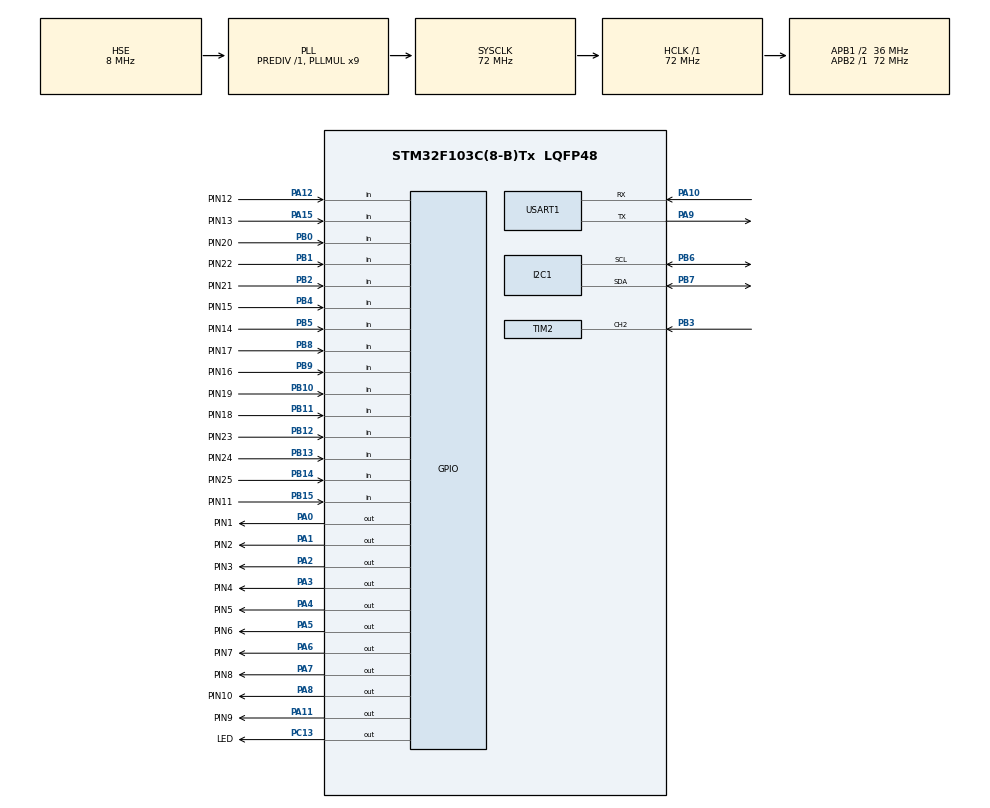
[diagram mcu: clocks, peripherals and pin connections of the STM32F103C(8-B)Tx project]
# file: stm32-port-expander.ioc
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ADC1.Channel-4\#ChannelRegularConversion=ADC_CHANNEL_TEMPSENSOR
ADC1.Channel-6\#ChannelRegularConversion=ADC_CHANNEL_VREFINT
ADC1.ContinuousConvMode=ENABLE
ADC1.NbrOfConversion=2
ADC1.NbrOfConversionFlag=1
ADC1.Rank-4\#ChannelRegularConversion=1
ADC1.Rank-6\#ChannelRegularConversion=2
ADC1.SamplingTime-4\#ChannelRegularConversion=ADC_SAMPLETIME_71CYCLES_5
ADC1.SamplingTime-6\#ChannelRegularConversion=ADC_SAMPLETIME_71CYCLES_5
ADC1.master=1
Dma.ADC1.0.Direction=DMA_PERIPH_TO_MEMORY
Dma.ADC1.0.Instance=DMA1_Channel1
Dma.ADC1.0.MemDataAlignment=DMA_MDATAALIGN_WORD
Dma.ADC1.0.MemInc=DMA_MINC_ENABLE
Dma.ADC1.0.Mode=DMA_CIRCULAR
Dma.ADC1.0.PeriphDataAlignment=DMA_PDATAALIGN_WORD
Dma.ADC1.0.PeriphInc=DMA_PINC_DISABLE
Dma.ADC1.0.Priority=DMA_PRIORITY_MEDIUM
Dma.Request0=ADC1
I2C1.GeneralCallMode=I2C_GENERALCALL_DISABLE
I2C1.I2C_Mode=I2C_Fast
I2C1.NoStretchMode=I2C_NOSTRETCH_DISABLE
I2C1.OwnAddress=8
Mcu.Family=STM32F1
Mcu.Name=STM32F103C(8-B)Tx
Mcu.Package=LQFP48
NVIC.ADC1_2_IRQn=true\:0\:0\:false\:false\:true\:true\:true\:true
NVIC.DMA1_Channel1_IRQn=true\:0\:0\:false\:false\:true\:false\:true\:true
NVIC.I2C1_ER_IRQn=true\:0\:0\:false\:false\:true\:true\:true\:true
NVIC.I2C1_EV_IRQn=true\:0\:0\:false\:false\:true\:true\:true\:true
NVIC.PriorityGroup=NVIC_PRIORITYGROUP_4
NVIC.TIM2_IRQn=true\:0\:0\:false\:false\:true\:true\:true\:true
PA0-WKUP.GPIO_Label=PIN1
PA0-WKUP.GPIO_PuPd=GPIO_PULLDOWN
PA0-WKUP.GPIO_Speed=GPIO_SPEED_FREQ_HIGH
PA0-WKUP.PinState=GPIO_PIN_RESET
PA0-WKUP.Signal=GPIO_Output
PA1.GPIO_Label=PIN2
PA1.GPIO_PuPd=GPIO_PULLDOWN
PA1.GPIO_Speed=GPIO_SPEED_FREQ_HIGH
PA1.PinState=GPIO_PIN_RESET
PA1.Signal=GPIO_Output
PA10.Mode=Asynchronous
PA10.Signal=USART1_RX
PA11.GPIO_Label=PIN9
PA11.GPIO_PuPd=GPIO_PULLDOWN
PA11.GPIO_Speed=GPIO_SPEED_FREQ_HIGH
PA11.Signal=GPIO_Output
PA12.GPIO_Label=PIN12
PA12.GPIO_PuPd=GPIO_NOPULL
PA12.Signal=GPIO_Input
PA13.Mode=Serial_Wire
PA13.Signal=SYS_JTMS-SWDIO
PA14.Mode=Serial_Wire
PA14.Signal=SYS_JTCK-SWCLK
PA15.GPIO_Label=PIN13
PA15.GPIO_PuPd=GPIO_NOPULL
PA15.Signal=GPIO_Input
PA2.GPIO_Label=PIN3
PA2.GPIO_PuPd=GPIO_PULLDOWN
PA2.GPIO_Speed=GPIO_SPEED_FREQ_HIGH
PA2.Signal=GPIO_Output
PA3.GPIO_Label=PIN4
PA3.GPIO_PuPd=GPIO_PULLDOWN
PA3.GPIO_Speed=GPIO_SPEED_FREQ_HIGH
PA3.Signal=GPIO_Output
PA4.GPIO_Label=PIN5
PA4.GPIO_PuPd=GPIO_PULLDOWN
PA4.GPIO_Speed=GPIO_SPEED_FREQ_HIGH
PA4.PinState=GPIO_PIN_RESET
PA4.Signal=GPIO_Output
PA5.GPIO_Label=PIN6
PA5.GPIO_PuPd=GPIO_PULLDOWN
PA5.GPIO_Speed=GPIO_SPEED_FREQ_HIGH
PA5.PinState=GPIO_PIN_RESET
PA5.Signal=GPIO_Output
PA6.GPIO_Label=PIN7
PA6.GPIO_PuPd=GPIO_PULLDOWN
PA6.GPIO_Speed=GPIO_SPEED_FREQ_HIGH
PA6.Signal=GPIO_Output
PA7.GPIO_Label=PIN8
PA7.GPIO_PuPd=GPIO_PULLDOWN
PA7.GPIO_Speed=GPIO_SPEED_FREQ_HIGH
PA7.Signal=GPIO_Output
PA8.GPIO_Label=PIN10
PA8.GPIO_PuPd=GPIO_PULLDOWN
PA8.GPIO_Speed=GPIO_SPEED_FREQ_HIGH
PA8.Signal=GPIO_Output
PA9.Mode=Asynchronous
PA9.Signal=USART1_TX
PB0.GPIO_Label=PIN20
PB0.GPIO_PuPd=GPIO_NOPULL
PB0.Signal=GPIO_Input
PB1.GPIO_Label=PIN22
PB1.GPIO_PuPd=GPIO_NOPULL
PB1.Signal=GPIO_Input
PB10.GPIO_Label=PIN19
PB10.GPIO_PuPd=GPIO_NOPULL
PB10.Signal=GPIO_Input
PB11.GPIO_Label=PIN18
PB11.GPIO_PuPd=GPIO_NOPULL
PB11.Signal=GPIO_Input
PB12.GPIO_Label=PIN23
PB12.GPIO_PuPd=GPIO_NOPULL
PB12.Signal=GPIO_Input
PB13.GPIO_Label=PIN24
PB13.GPIO_PuPd=GPIO_NOPULL
PB13.Signal=GPIO_Input
PB14.GPIO_Label=PIN25
PB14.GPIO_PuPd=GPIO_NOPULL
PB14.Signal=GPIO_Input
PB15.GPIO_Label=PIN11
PB15.GPIO_PuPd=GPIO_NOPULL
PB15.Signal=GPIO_Input
PB2.GPIO_Label=PIN21
PB2.GPIO_PuPd=GPIO_NOPULL
PB2.Signal=GPIO_Input
PB3.Signal=S_TIM2_CH2
PB4.GPIO_Label=PIN15
PB4.GPIO_PuPd=GPIO_NOPULL
PB4.Signal=GPIO_Input
PB5.GPIO_Label=PIN14
PB5.GPIO_PuPd=GPIO_NOPULL
PB5.Signal=GPIO_Input
PB6.Mode=I2C
PB6.Signal=I2C1_SCL
PB7.Mode=I2C
PB7.Signal=I2C1_SDA
PB8.GPIO_Label=PIN17
PB8.GPIO_PuPd=GPIO_NOPULL
PB8.Signal=GPIO_Input
PB9.GPIO_Label=PIN16
PB9.GPIO_PuPd=GPIO_NOPULL
PB9.Signal=GPIO_Input
PC13-TAMPER-RTC.GPIO_Label=LED
PC13-TAMPER-RTC.Signal=GPIO_Output
PC14-OSC32_IN.Mode=LSE-External-Oscillator
PC14-OSC32_IN.Signal=RCC_OSC32_IN
PC15-OSC32_OUT.Mode=LSE-External-Oscillator
PC15-OSC32_OUT.Signal=RCC_OSC32_OUT
PD0-OSC_IN.Mode=HSE-External-Oscillator
PD0-OSC_IN.Signal=RCC_OSC_IN
PD1-OSC_OUT.Mode=HSE-External-Oscillator
PD1-OSC_OUT.Signal=RCC_OSC_OUT
ProjectManager.HeapSize=0x200
ProjectManager.StackSize=0x400
ProjectManager.TargetToolchain=STM32CubeIDE
RCC.ADCPresc=RCC_ADCPCLK2_DIV6
RCC.AHBFreq_Value=72000000
RCC.APB1CLKDivider=RCC_HCLK_DIV2
RCC.APB1Freq_Value=36000000
RCC.APB1TimFreq_Value=72000000
RCC.APB2Freq_Value=72000000
RCC.APB2TimFreq_Value=72000000
RCC.HCLKFreq_Value=72000000
RCC.PLLMUL=RCC_PLL_MUL9
RCC.PLLSourceVirtual=RCC_PLLSOURCE_HSE
RCC.SYSCLKFreq_VALUE=72000000
RCC.SYSCLKSource=RCC_SYSCLKSOURCE_PLLCLK
RCC.USBFreq_Value=72000000
SH.S_TIM2_CH2.0=TIM2_CH2,Input_Capture2_from_TI2
TIM2.AutoReloadPreload=TIM_AUTORELOAD_PRELOAD_ENABLE
TIM2.Channel-Input_Capture2_from_TI2=TIM_CHANNEL_2
TIM2.ICPolarity_CH2=TIM_INPUTCHANNELPOLARITY_FALLING
TIM2.Period=10000
TIM2.Prescaler=72-1
USART1.VirtualMode=VM_ASYNC
VP_ADC1_TempSens_Input.Mode=IN-TempSens
VP_ADC1_Vref_Input.Mode=IN-Vrefint
VP_RTC_No_RTC_Output.Mode=RTC_OUT_NO
VP_RTC_VS_RTC_Activate.Mode=RTC_Enabled
VP_RTC_VS_RTC_Calendar.Mode=RTC_Calendar
VP_TIM2_VS_ClockSourceINT.Mode=Internal
board=custom

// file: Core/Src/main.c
/* USER CODE BEGIN Header */
/**
 ******************************************************************************
 * @file           : main.c
 * @brief          : Main program body
 ******************************************************************************
 * @attention
 *
 * Copyright (c) 2023 STMicroelectronics.
 * All rights reserved.
 *
 * This software is licensed under terms that can be found in the LICENSE file
 * in the root directory of this software component.
 * If no LICENSE file comes with this software, it is provided AS-IS.
 *
 ******************************************************************************
 */
/* USER CODE END Header */
#include "main.h"
#include "adc.h"
#include "dma.h"
#include "i2c.h"
#include "rtc.h"
#include "tim.h"
#include "usart.h"
#include "gpio.h"

/* USER CODE BEGIN Includes */
#include <stdio.h>
/* USER CODE END Includes */

/* USER CODE BEGIN PD */

#define READ_ANALOG_INPUT_VALUES_CMD 0 // this cmd will be combined with pin number. Pins 0-15 will be analog in
#define WRITE_ANALOG_OUTPUT_VALUES_CMD 16 // 16-31 will be analog write pin numbers
#define READ_DIGITAL_INPUT_VALUE_1_CMD 32
#define READ_DIGITAL_INPUT_VALUE_2_CMD 33
#define WRITE_DIGITAL_OUTPUT_VALUE_1_CMD 34
#define WRITE_DIGITAL_OUTPUT_VALUE_2_CMD 35
#define ACK_VALUE 130 // Like a password

/* USER CODE END PD */

/* USER CODE BEGIN PV */

uint8_t  rx_buf[2];
uint8_t  tx_buf[1];

volatile uint8_t input_digital_values[2] = {0x00};
volatile uint8_t output_digital_values[2] = {0x00};
volatile uint8_t input_analog_values[16] = {0x00};
volatile uint8_t output_analog_values[16] = {0x00};

uint32_t adcDmaValue[2];
uint32_t adcTempValue;
uint32_t adcVRefValue;

uint32_t previousTick;
uint8_t timerOverloadedCount;
uint32_t timerCapturedCounter;

uint16_t dimmerValue[10];

uint8_t error;
uint8_t temperatureThreshold = 40;

/* USER CODE END PV */

void SystemClock_Config(void);
/* USER CODE BEGIN PFP */
#ifdef __GNUC__
/* With GCC, small printf (option LD Linker->Libraries->Small printf
 set to 'Yes') calls __io_putchar() */
#define PUTCHAR_PROTOTYPE int __io_putchar(int ch)
#else
  #define PUTCHAR_PROTOTYPE int fputc(int ch, FILE *f)
#endif /* __GNUC__ */
/* USER CODE END PFP */

/* USER CODE BEGIN 0 */

#define DIMMER_PINS_RESET (uint32_t)((PIN1_Pin | PIN2_Pin | PIN3_Pin | PIN4_Pin | PIN5_Pin | PIN6_Pin | PIN7_Pin | PIN8_Pin | PIN9_Pin | PIN10_Pin) << 16u)
#define DIMMER_RESET_TRESHHOLD 9800 // milliseconds
#define DIMMER_MIN_TRESHHOLD 100 // milliseconds
#define DEBUG 0

#define V25 1.57 // from datasheet fo CH32. for STM32 it is 1.43
#define VSENSE 3.3/4096 // VSENSE value 0.0008056640625
#define Avg_Slope 0.0043 // 4.3mV from datasheet

int getTemp(uint32_t variable) {
	return (int)(((V25 - (VSENSE * variable)) / Avg_Slope) + 25); // formula from datasheet
}

int getVoltage(uint32_t variable) {
	return (int)(VSENSE * variable); // formula from datasheet
}

/* USER CODE END 0 */

int main(void)
{

  /* MCU Configuration--------------------------------------------------------*/

  /* Reset of all peripherals, Initializes the Flash interface and the Systick. */
  HAL_Init();

  /* Configure the system clock */
  SystemClock_Config();

  /* Initialize all configured peripherals */
  MX_GPIO_Init();
  MX_DMA_Init();
  MX_I2C1_Init();
  MX_USART1_UART_Init();
  MX_ADC1_Init();
  MX_RTC_Init();
  MX_TIM2_Init();
  /* USER CODE BEGIN 2 */

  HAL_ADCEx_Calibration_Start(&hadc1);
  HAL_I2C_EnableListen_IT(&hi2c1);
  HAL_ADC_Start_DMA(&hadc1, adcDmaValue, 2);
  HAL_GPIO_WritePin(GPIOC, 13, GPIO_PIN_RESET);
  HAL_TIM_Base_Start_IT(&htim2);
  HAL_TIM_IC_Start_IT(&htim2, TIM_CHANNEL_2);

  printf("Stm 32 Port Expander by Eugen Scobich\r\n");
  /* USER CODE END 2 */

  /* Infinite loop */
  /* USER CODE BEGIN WHILE */
	while (1) {
		uint32_t timerCurrentCounter = TIM2->CNT;
		uint32_t delta = (timerCurrentCounter + 10000 * timerOverloadedCount) - timerCapturedCounter;
		if (delta < DIMMER_MIN_TRESHHOLD) {
			for (uint8_t i = 0; i < 10; i++) {
				dimmerValue[i] = (100 - 100 * output_analog_values[i]/255) * 100;
			}
			temperatureThreshold = output_analog_values[10];

			if ((output_digital_values[0] & (1 << 0)) > 0) {
				HAL_GPIO_WritePin(LED_GPIO_Port, LED_Pin, GPIO_PIN_SET);
			} else {
				HAL_GPIO_WritePin(LED_GPIO_Port, LED_Pin, GPIO_PIN_RESET);
			}

			input_analog_values[0] = getVoltage(adcVRefValue);
			input_analog_values[1] = getTemp(adcTempValue);
			uint8_t input_digital_values_temp[2] = {0x00};

			input_digital_values_temp[0] |= HAL_GPIO_ReadPin(PIN11_GPIO_Port, PIN11_Pin) << 0;
			input_digital_values_temp[0] |= HAL_GPIO_ReadPin(PIN12_GPIO_Port, PIN12_Pin) << 1;
			input_digital_values_temp[0] |= HAL_GPIO_ReadPin(PIN13_GPIO_Port, PIN13_Pin) << 2;
			input_digital_values_temp[0] |= HAL_GPIO_ReadPin(PIN14_GPIO_Port, PIN14_Pin) << 3;
			input_digital_values_temp[0] |= HAL_GPIO_ReadPin(PIN15_GPIO_Port, PIN15_Pin) << 4;
			input_digital_values_temp[0] |= HAL_GPIO_ReadPin(PIN16_GPIO_Port, PIN16_Pin) << 5;
			input_digital_values_temp[0] |= HAL_GPIO_ReadPin(PIN17_GPIO_Port, PIN17_Pin) << 6;
			input_digital_values_temp[0] |= HAL_GPIO_ReadPin(PIN18_GPIO_Port, PIN18_Pin) << 7;

			input_digital_values_temp[1] |= HAL_GPIO_ReadPin(PIN19_GPIO_Port, PIN19_Pin) << 0;
			input_digital_values_temp[1] |= HAL_GPIO_ReadPin(PIN20_GPIO_Port, PIN20_Pin) << 1;
			input_digital_values_temp[1] |= HAL_GPIO_ReadPin(PIN21_GPIO_Port, PIN21_Pin) << 2;
			input_digital_values_temp[1] |= HAL_GPIO_ReadPin(PIN22_GPIO_Port, PIN22_Pin) << 3;
			input_digital_values_temp[1] |= HAL_GPIO_ReadPin(PIN23_GPIO_Port, PIN23_Pin) << 4;
			input_digital_values_temp[1] |= HAL_GPIO_ReadPin(PIN24_GPIO_Port, PIN24_Pin) << 5;
			input_digital_values_temp[1] |= HAL_GPIO_ReadPin(PIN25_GPIO_Port, PIN25_Pin) << 6;

			input_digital_values[0] = input_digital_values_temp[0];
			input_digital_values[1] = input_digital_values_temp[1];
		} else if (delta > DIMMER_RESET_TRESHHOLD) {
			if (dimmerValue[0] > DIMMER_MIN_TRESHHOLD) {
				HAL_GPIO_WritePin(PIN1_GPIO_Port, PIN1_Pin, GPIO_PIN_RESET);
			}
			if (dimmerValue[1] > DIMMER_MIN_TRESHHOLD) {
				HAL_GPIO_WritePin(PIN2_GPIO_Port, PIN2_Pin, GPIO_PIN_RESET);
			}
			if (dimmerValue[2] > DIMMER_MIN_TRESHHOLD) {
				HAL_GPIO_WritePin(PIN3_GPIO_Port, PIN3_Pin, GPIO_PIN_RESET);
			}
			if (dimmerValue[3] > DIMMER_MIN_TRESHHOLD) {
				HAL_GPIO_WritePin(PIN4_GPIO_Port, PIN4_Pin, GPIO_PIN_RESET);
			}
			if (dimmerValue[4] > DIMMER_MIN_TRESHHOLD) {
				HAL_GPIO_WritePin(PIN5_GPIO_Port, PIN5_Pin, GPIO_PIN_RESET);
			}
			if (dimmerValue[5] > DIMMER_MIN_TRESHHOLD) {
				HAL_GPIO_WritePin(PIN6_GPIO_Port, PIN6_Pin, GPIO_PIN_RESET);
			}
			if (dimmerValue[6] > DIMMER_MIN_TRESHHOLD) {
				HAL_GPIO_WritePin(PIN7_GPIO_Port, PIN7_Pin, GPIO_PIN_RESET);
			}
			if (dimmerValue[7] > DIMMER_MIN_TRESHHOLD) {
				HAL_GPIO_WritePin(PIN8_GPIO_Port, PIN8_Pin, GPIO_PIN_RESET);
			}
			if (dimmerValue[8] > DIMMER_MIN_TRESHHOLD) {
				HAL_GPIO_WritePin(PIN9_GPIO_Port, PIN9_Pin, GPIO_PIN_RESET);
			}
			if (dimmerValue[9] > DIMMER_MIN_TRESHHOLD) {
				HAL_GPIO_WritePin(PIN10_GPIO_Port, PIN10_Pin, GPIO_PIN_RESET);
			}
		} else if (input_analog_values[1] >= temperatureThreshold) {
			GPIOA->BSRR = DIMMER_PINS_RESET;
		} else {
			if (dimmerValue[0] < delta) {
				HAL_GPIO_WritePin(PIN1_GPIO_Port, PIN1_Pin, GPIO_PIN_SET);
			}
			if (dimmerValue[1] < delta) {
				HAL_GPIO_WritePin(PIN2_GPIO_Port, PIN2_Pin, GPIO_PIN_SET);
			}
			if (dimmerValue[2] < delta) {
				HAL_GPIO_WritePin(PIN3_GPIO_Port, PIN3_Pin, GPIO_PIN_SET);
			}
			if (dimmerValue[3] < delta) {
				HAL_GPIO_WritePin(PIN4_GPIO_Port, PIN4_Pin, GPIO_PIN_SET);
			}
			if (dimmerValue[4] < delta) {
				HAL_GPIO_WritePin(PIN5_GPIO_Port, PIN5_Pin, GPIO_PIN_SET);
			}
			if (dimmerValue[5] < delta) {
				HAL_GPIO_WritePin(PIN6_GPIO_Port, PIN6_Pin, GPIO_PIN_SET);
			}
			if (dimmerValue[6] < delta) {
				HAL_GPIO_WritePin(PIN7_GPIO_Port, PIN7_Pin, GPIO_PIN_SET);
			}
			if (dimmerValue[7] < delta) {
				HAL_GPIO_WritePin(PIN8_GPIO_Port, PIN8_Pin, GPIO_PIN_SET);
			}
			if (dimmerValue[8] < delta) {
				HAL_GPIO_WritePin(PIN9_GPIO_Port, PIN9_Pin, GPIO_PIN_SET);
			}
			if (dimmerValue[9] < delta) {
				HAL_GPIO_WritePin(PIN10_GPIO_Port, PIN10_Pin, GPIO_PIN_SET);
			}
		}

		#if DEBUG
		    uint32_t currentTick = HAL_GetTick();
			if (previousTick + 1000 < currentTick) {
				printf("ADC1:[%d], TEMP:[%d], VREF:[%d], V:[%d]\r\n", adcTempValue, input_analog_values[1], adcVRefValue, input_analog_values[0]);
				printf("Input Value 1=[%d], 2=[%d]\r\n", input_digital_values[0], input_digital_values[1]);
				printf("Output Analog Value 1=[%d], 2=[%d]\r\n", output_analog_values[0], output_analog_values[1]);
				previousTick = currentTick;
			}
		#endif
    /* USER CODE END WHILE */

	}
}

void SystemClock_Config(void)
{
  RCC_OscInitTypeDef RCC_OscInitStruct = {0};
  RCC_ClkInitTypeDef RCC_ClkInitStruct = {0};
  RCC_PeriphCLKInitTypeDef PeriphClkInit = {0};

  /** Initializes the RCC Oscillators according to the specified parameters
  * in the RCC_OscInitTypeDef structure.
  */
  RCC_OscInitStruct.OscillatorType = RCC_OSCILLATORTYPE_LSI|RCC_OSCILLATORTYPE_HSE;
  RCC_OscInitStruct.HSEState = RCC_HSE_ON;
  RCC_OscInitStruct.HSEPredivValue = RCC_HSE_PREDIV_DIV1;
  RCC_OscInitStruct.HSIState = RCC_HSI_ON;
  RCC_OscInitStruct.LSIState = RCC_LSI_ON;
  RCC_OscInitStruct.PLL.PLLState = RCC_PLL_ON;
  RCC_OscInitStruct.PLL.PLLSource = RCC_PLLSOURCE_HSE;
  RCC_OscInitStruct.PLL.PLLMUL = RCC_PLL_MUL9;
  if (HAL_RCC_OscConfig(&RCC_OscInitStruct) != HAL_OK)
  {
    Error_Handler();
  }

  /** Initializes the CPU, AHB and APB buses clocks
  */
  RCC_ClkInitStruct.ClockType = RCC_CLOCKTYPE_HCLK|RCC_CLOCKTYPE_SYSCLK
                              |RCC_CLOCKTYPE_PCLK1|RCC_CLOCKTYPE_PCLK2;
  RCC_ClkInitStruct.SYSCLKSource = RCC_SYSCLKSOURCE_PLLCLK;
  RCC_ClkInitStruct.AHBCLKDivider = RCC_SYSCLK_DIV1;
  RCC_ClkInitStruct.APB1CLKDivider = RCC_HCLK_DIV2;
  RCC_ClkInitStruct.APB2CLKDivider = RCC_HCLK_DIV1;

  if (HAL_RCC_ClockConfig(&RCC_ClkInitStruct, FLASH_LATENCY_2) != HAL_OK)
  {
    Error_Handler();
  }
  PeriphClkInit.PeriphClockSelection = RCC_PERIPHCLK_RTC|RCC_PERIPHCLK_ADC;
  PeriphClkInit.RTCClockSelection = RCC_RTCCLKSOURCE_LSI;
  PeriphClkInit.AdcClockSelection = RCC_ADCPCLK2_DIV6;
  if (HAL_RCCEx_PeriphCLKConfig(&PeriphClkInit) != HAL_OK)
  {
    Error_Handler();
  }
}

/* USER CODE BEGIN 4 */

PUTCHAR_PROTOTYPE {
	HAL_UART_Transmit(&huart1, (uint8_t*) &ch, 1, HAL_MAX_DELAY);
	return ch;
}

int _write(int file, char *ptr, int len) {
	int DataIdx;
	for (DataIdx = 0; DataIdx < len; DataIdx++) {
		__io_putchar(*ptr++);
	}
	return len;
}

extern void HAL_I2C_ListenCpltCallback(I2C_HandleTypeDef *hi2c) {
	HAL_I2C_EnableListen_IT(hi2c);
}

extern void HAL_I2C_AddrCallback(I2C_HandleTypeDef *hi2c, uint8_t TransferDirection, uint16_t AddrMatchCode) {
	if (TransferDirection == I2C_DIRECTION_TRANSMIT) { // if the master wants to transmit the data
		HAL_I2C_Slave_Sequential_Receive_IT(hi2c, rx_buf, 2, I2C_LAST_FRAME);
	} else {
		if (rx_buf[0] == WRITE_DIGITAL_OUTPUT_VALUE_1_CMD) {
			output_digital_values[0] = rx_buf[1];
			tx_buf[0] = ACK_VALUE;
		} else if (rx_buf[0] == WRITE_DIGITAL_OUTPUT_VALUE_2_CMD){
			output_digital_values[1] = rx_buf[1];
			tx_buf[0] = ACK_VALUE;
		} else if (rx_buf[0] >= WRITE_ANALOG_OUTPUT_VALUES_CMD && rx_buf[0] <= WRITE_ANALOG_OUTPUT_VALUES_CMD + 15) {
			output_analog_values[rx_buf[0] - WRITE_ANALOG_OUTPUT_VALUES_CMD] = rx_buf[1];
			//dimmerValue[i] = (100 - 100 * output_analog_values[i]/255) * 100;
			tx_buf[0] = output_analog_values[rx_buf[0] - WRITE_ANALOG_OUTPUT_VALUES_CMD];
		} else if (rx_buf[0] >= READ_ANALOG_INPUT_VALUES_CMD && rx_buf[0] <= READ_ANALOG_INPUT_VALUES_CMD + 15) {
			tx_buf[0] = input_analog_values[rx_buf[0]];
		} else if (rx_buf[0] == READ_DIGITAL_INPUT_VALUE_1_CMD) {
			tx_buf[0] = input_digital_values[0];
		} else if (rx_buf[0] == READ_DIGITAL_INPUT_VALUE_2_CMD) {
			tx_buf[0] = input_digital_values[1];
		}
		HAL_I2C_Slave_Seq_Transmit_IT(hi2c, tx_buf, 1, I2C_LAST_FRAME);
	}

}

void HAL_I2C_SlaveRxCpltCallback(I2C_HandleTypeDef *hi2c) {

}

void HAL_I2C_SlaveTxCpltCallback(I2C_HandleTypeDef *hi2c) {

}

void HAL_I2C_ErrorCallback(I2C_HandleTypeDef *hi2c) {
	HAL_I2C_DeInit(&hi2c1); // When master is reset we need to reinit i2c
	MX_I2C1_Init();
	HAL_I2C_EnableListen_IT(hi2c);
}

void HAL_ADC_ConvCpltCallback(ADC_HandleTypeDef *hadc) {
	adcTempValue = adcDmaValue[0];
	adcVRefValue = adcDmaValue[1];
}

void HAL_TIM_IC_CaptureCallback(TIM_HandleTypeDef* htim)
{
	timerCapturedCounter = TIM2->CCR2;
    timerOverloadedCount = 0;
}

void HAL_TIM_PeriodElapsedCallback(TIM_HandleTypeDef* htim)
{
	timerOverloadedCount++;
}

/* USER CODE END 4 */

void Error_Handler(void)
{
  /* USER CODE BEGIN Error_Handler_Debug */
	printf("FATAL ERROR!!!");
	/* User can add his own implementation to report the HAL error return state */
	__disable_irq();
	while (1) {
	}
  /* USER CODE END Error_Handler_Debug */
}
